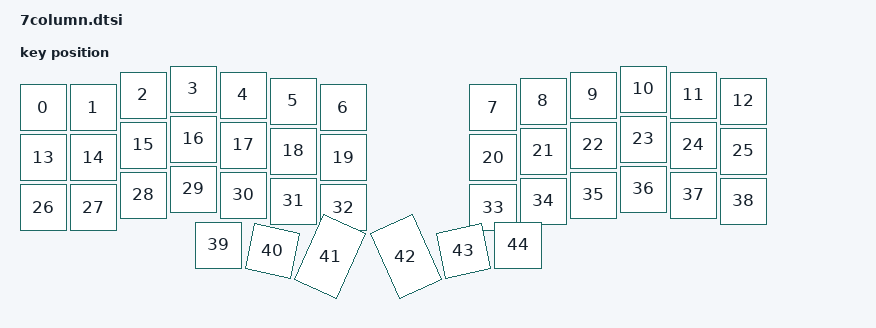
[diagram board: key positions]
#include <layouts/foostan/corne/position_map.dtsi>
//#include <physical_layouts.dtsi>

/ {
    layouts_foostan_corne_7col_position_map: layouts_foostan_corne_7col_position_map {
        compatible = "zmk,physical-layout-position-map";

        complete;
    };

    foostan_corne_7col_layout: foostan_corne_7col_layout {
        compatible = "zmk,physical-layout";
        display-name = "7 Column";

        keys  //                     w   h    x    y     rot    rx    ry
            = <&key_physical_attrs 100 100    0   37       0     0     0>
            , <&key_physical_attrs 100 100  100   37       0     0     0>
            , <&key_physical_attrs 100 100  200   12       0     0     0>
            , <&key_physical_attrs 100 100  300    0       0     0     0>
            , <&key_physical_attrs 100 100  400   12       0     0     0>
            , <&key_physical_attrs 100 100  500   24       0     0     0>
            , <&key_physical_attrs 100 100  600   37       0     0     0>
            , <&key_physical_attrs 100 100  900   37       0     0     0>
            , <&key_physical_attrs 100 100 1000   24       0     0     0>
            , <&key_physical_attrs 100 100 1100   12       0     0     0>
            , <&key_physical_attrs 100 100 1200    0       0     0     0>
            , <&key_physical_attrs 100 100 1300   12       0     0     0>
            , <&key_physical_attrs 100 100 1400   24       0     0     0>
            , <&key_physical_attrs 100 100    0  137       0     0     0>
            , <&key_physical_attrs 100 100  100  137       0     0     0>
            , <&key_physical_attrs 100 100  200  112       0     0     0>
            , <&key_physical_attrs 100 100  300  100       0     0     0>
            , <&key_physical_attrs 100 100  400  112       0     0     0>
            , <&key_physical_attrs 100 100  500  124       0     0     0>
            , <&key_physical_attrs 100 100  600  137       0     0     0>
            , <&key_physical_attrs 100 100  900  137       0     0     0>
            , <&key_physical_attrs 100 100 1000  124       0     0     0>
            , <&key_physical_attrs 100 100 1100  112       0     0     0>
            , <&key_physical_attrs 100 100 1200  100       0     0     0>
            , <&key_physical_attrs 100 100 1300  112       0     0     0>
            , <&key_physical_attrs 100 100 1400  124       0     0     0>
            , <&key_physical_attrs 100 100    0  237       0     0     0>
            , <&key_physical_attrs 100 100  100  237       0     0     0>
            , <&key_physical_attrs 100 100  200  212       0     0     0>
            , <&key_physical_attrs 100 100  300  200       0     0     0>
            , <&key_physical_attrs 100 100  400  212       0     0     0>
            , <&key_physical_attrs 100 100  500  224       0     0     0>
            , <&key_physical_attrs 100 100  600  237       0     0     0>
            , <&key_physical_attrs 100 100  900  237       0     0     0>
            , <&key_physical_attrs 100 100 1000  224       0     0     0>
            , <&key_physical_attrs 100 100 1100  212       0     0     0>
            , <&key_physical_attrs 100 100 1200  200       0     0     0>
            , <&key_physical_attrs 100 100 1300  212       0     0     0>
            , <&key_physical_attrs 100 100 1400  224       0     0     0>
            , <&key_physical_attrs 100 100  350  312       0     0     0>
            , <&key_physical_attrs 100 100  450  312    1200   450   412>
            , <&key_physical_attrs 100 150  548  283    2400   548   433>
            , <&key_physical_attrs 100 150  752  283  (-2400)  852   433>
            , <&key_physical_attrs 100 100  850  312  (-1200)  950   412>
            , <&key_physical_attrs 100 100  950  312       0     0     0>
        ;
    };
};

&layouts_foostan_corne_7col_position_map {
    foostan_corne_7col_posmap: seven {
        physical-layout = <&foostan_corne_7col_layout>;
        positions
            = < 0  1  2  3  4  5  6  7  8  9 10 11 12 13>
            , <14 15 16 17 18 19 20 21 22 23 24 25 26 27>
            , <28 29 30 31 32 33 34 35 36 37 38 39 40 41>
            , <            42 43 44 45 46 47            >;
    };
};
